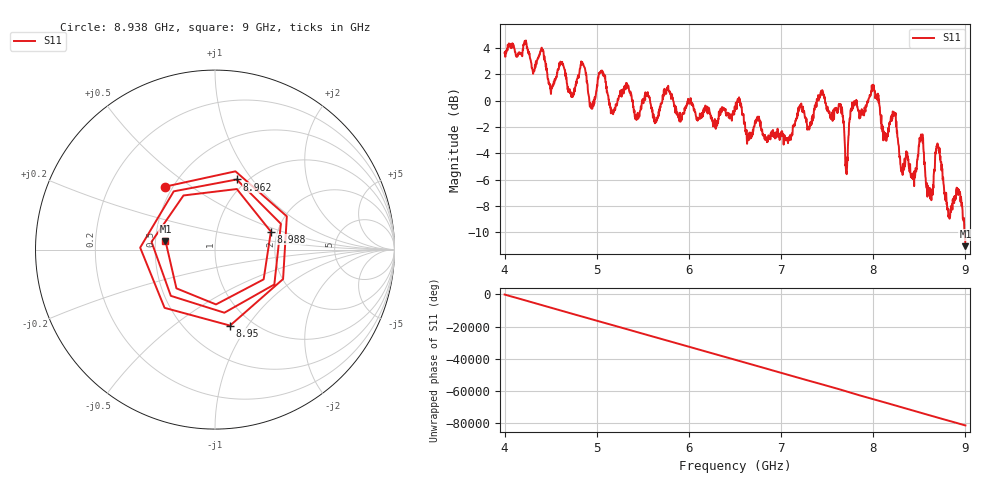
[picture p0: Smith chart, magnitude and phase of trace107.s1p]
! Created with skrf 1.8.0 (http://scikit-rf.org).
# Hz S RI R 50.0
!freq ReS11 ImS11
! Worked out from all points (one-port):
!   1601 points, 4 GHz to 9 GHz, reference 50 ohm
!   lowest |S11| = -11.0 dB at 9 GHz (marker M1), VSWR 1.78, Z = 28.3 + j2.98 ohm
!   |S11| at or under -10 dB: 8.991368 GHz to end of sweep
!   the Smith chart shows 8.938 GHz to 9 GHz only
!   S11 on the Smith chart (normalised r, x): 8.938 GHz: 0.45, +0.40; 8.95 GHz: 0.80, -0.83; 8.962 GHz: 0.90, +0.84; 8.988 GHz: 1.84, +0.41; 9 GHz: 0.57, +0.06
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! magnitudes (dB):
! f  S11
! 4 GHz  3.6
! 4.406 GHz  3.9
! 4.506 GHz  0.9
! 4.625 GHz  2.9
! 4.728 GHz  0.4
! 4.85 GHz  2.8
! 4.947 GHz  -0.4
! 5.044 GHz  2.2
! 5.166 GHz  -0.8
! 5.25 GHz  0.3
! 5.875 GHz  -0.9
! 6.5 GHz  -0.8
! 7.125 GHz  -2.4
! 7.45 GHz  0.7
! 7.647 GHz  -0.3
! 7.709 GHz  -5.4
! 7.75 GHz  -1.3
! 8.006 GHz  0.8
! 8.375 GHz  -4.2
! 8.525 GHz  -2.8
! 8.622 GHz  -7.5
! 8.697 GHz  -3.2
! 8.819 GHz  -8.7
! 8.938 GHz  -7.0
! 8.95 GHz  -7.3
! 8.962 GHz  -7.8
! 8.988 GHz  -9.7
! 9 GHz  -11.0
